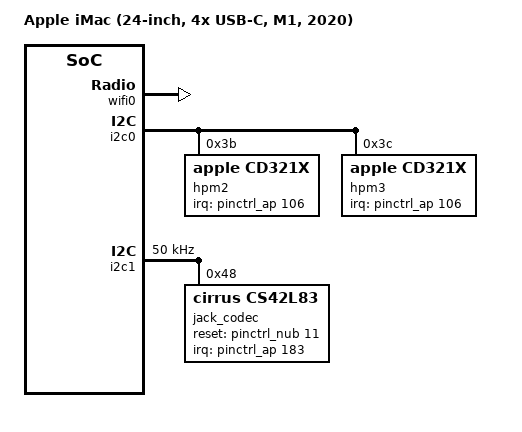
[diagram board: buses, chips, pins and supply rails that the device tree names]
// SPDX-License-Identifier: GPL-2.0+ OR MIT
/*
 * Apple iMac (24-inch, 4x USB-C, M1, 2020)
 *
 * target-type: J456
 *
 * Copyright The Asahi Linux Contributors
 */

/dts-v1/;

#include "t8103.dtsi"
#include "t8103-jxxx.dtsi"

/ {
	compatible = "apple,j456", "apple,t8103", "apple,arm-platform";
	model = "Apple iMac (24-inch, 4x USB-C, M1, 2020)";

	aliases {
		ethernet0 = &ethernet0;
	};
};

&wifi0 {
	brcm,board-type = "apple,capri";
};

&i2c0 {
	hpm2: usb-pd@3b {
		compatible = "apple,cd321x";
		reg = <0x3b>;
		interrupt-parent = <&pinctrl_ap>;
		interrupts = <106 IRQ_TYPE_LEVEL_LOW>;
		interrupt-names = "irq";
	};

	hpm3: usb-pd@3c {
		compatible = "apple,cd321x";
		reg = <0x3c>;
		interrupt-parent = <&pinctrl_ap>;
		interrupts = <106 IRQ_TYPE_LEVEL_LOW>;
		interrupt-names = "irq";
	};
};

/*
 * Provide labels for the USB type C ports.
 */

&typec0 {
	label = "USB-C Back-right";
};

&typec1 {
	label = "USB-C Back-right-middle";
};

/*
 * Force the bus number assignments so that we can declare some of the
 * on-board devices and properties that are populated by the bootloader
 * (such as MAC addresses).
 */

&port01 {
	bus-range = <2 2>;
};

&port02 {
	bus-range = <3 3>;
	ethernet0: ethernet@0,0 {
		reg = <0x30000 0x0 0x0 0x0 0x0>;
		/* To be filled by the loader */
		local-mac-address = [00 10 18 00 00 00];
	};
};

&i2c1 {
	clock-frequency = <50000>;

	jack_codec: codec@48 {
		compatible = "cirrus,cs42l83", "cirrus,cs42l42";
		reg = <0x48>;
		reset-gpios = <&pinctrl_nub 11 GPIO_ACTIVE_HIGH>;
		interrupt-parent = <&pinctrl_ap>;
		interrupts = <183 IRQ_TYPE_LEVEL_LOW>;
		#sound-dai-cells = <0>;
		cirrus,ts-inv = <1>;
	};
};

/ {
	sound {
		compatible = "simple-audio-card";
		simple-audio-card,name = "iMac integrated audio";
		#address-cells = <1>;
		#size-cells = <0>;

		simple-audio-card,dai-link@0 {
			bitclock-inversion;
			frame-inversion;
			reg = <0>;
			format = "i2s";
			mclk-fs = <64>;
			tdm-slot-width = <32>;

			link0_cpu: cpu {
				sound-dai = <&mca 2>;
				bitclock-master;
				frame-master;
			};

			link0_codec: codec {
				sound-dai = <&jack_codec>;
			};
		};
	};
};
